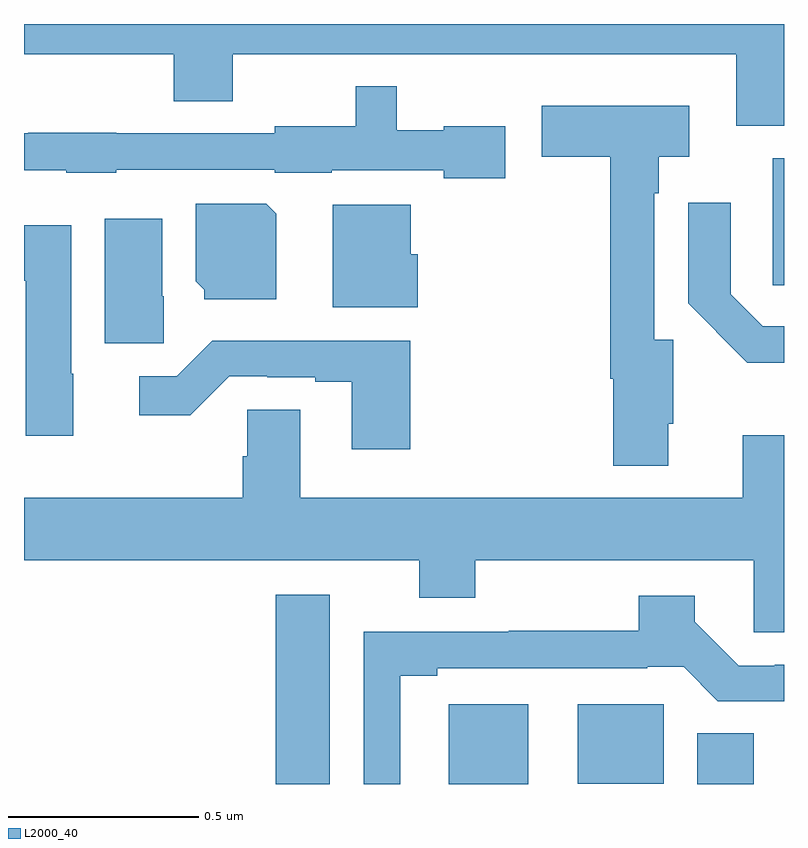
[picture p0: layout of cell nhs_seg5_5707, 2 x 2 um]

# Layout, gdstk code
import gdstk
lib = gdstk.Library(unit=1e-6, precision=1e-09)
def R(c, l, rs):  # rectangles x0, y0, x1, y1
    for r in rs: c.add(gdstk.rectangle(r[:2], r[2:], *l))
def P(c, l, *ps):  # polygons
    for p in ps: c.add(gdstk.Polygon(p, *l))
L2000_40 = (2000, 40)

nhs_seg5_5707 = lib.new_cell('nhs_seg5_5707')
R(nhs_seg5_5707, L2000_40, [(186.662,894.799,186.805,895.297), (187.118,894.799,187.327,895.009), (187.772,894.799,187.921,894.932), (187.457,894.8,187.684,895.009), (187.97,896.112,188,896.446)])
P(nhs_seg5_5707, L2000_40, [(188,896.799),(186,896.799),(186,896.72),(186.394,896.72),(186.394,896.596),(186.549,896.596),(186.549,896.72),(187.874,896.72),(187.874,896.531),(188,896.531)],
  [(187.267,896.53),(187.104,896.53),(187.104,896.519),(186.981,896.519),(186.981,896.635),(186.873,896.635),(186.873,896.53),(186.66,896.53),(186.66,896.511),(186.243,896.511),(186.243,896.513),(186.011,896.513),(186.011,896.511),(186,896.511),(186,896.414),(186.111,896.414),(186.111,896.408),(186.243,896.408),(186.243,896.415),(186.66,896.415),(186.66,896.408),(186.81,896.408),(186.81,896.414),(187.104,896.414),(187.104,896.393),(187.267,896.393)],
  [(187.696,895.747),(187.709,895.747),(187.709,895.968),(187.659,895.968),(187.659,896.354),(187.671,896.354),(187.671,896.45),(187.75,896.45),(187.75,896.584),(187.362,896.584),(187.362,896.45),(187.543,896.45),(187.543,895.865),(187.55,895.865),(187.55,895.637),(187.696,895.637)],
  [(188,896.004),(187.944,896.004),(187.86,896.088),(187.86,896.329),(187.748,896.329),(187.748,896.064),(187.822,895.99),(187.822,895.989),(187.903,895.907),(188,895.907)],
  [(186.664,896.3),(186.638,896.326),(186.452,896.326),(186.452,896.122),(186.474,896.1),(186.474,896.075),(186.664,896.075)],
  [(187.036,896.193),(187.018,896.193),(187.018,896.324),(186.812,896.324),(186.812,896.054),(187.036,896.054)],
  [(186.368,896.082),(186.364,896.082),(186.364,896.287),(186.212,896.287),(186.212,895.959),(186.368,895.959)],
  [(186.13,895.878),(186.124,895.878),(186.124,896.269),(186,896.269),(186,896.124),(186.005,896.124),(186.005,895.716),(186.13,895.716)],
  [(187.016,895.966),(186.496,895.966),(186.402,895.872),(186.303,895.872),(186.303,895.77),(186.438,895.77),(186.54,895.872),(186.64,895.872),(186.64,895.869),(186.767,895.869),(186.767,895.857),(186.863,895.857),(186.863,895.68),(187.016,895.68)],
  [(188,895.717),(187.892,895.717),(187.892,895.552),(186.727,895.552),(186.727,895.784),(186.588,895.784),(186.588,895.662),(186.575,895.662),(186.575,895.552),(186,895.552),(186,895.388),(187.04,895.388),(187.04,895.289),(187.188,895.289),(187.188,895.388),(187.92,895.388),(187.92,895.198),(188,895.198)],
  [(186.99,895.084),(187.087,895.084),(187.087,895.104),(187.64,895.104),(187.64,895.107),(187.736,895.107),(187.826,895.017),(188,895.017),(188,895.113),(187.975,895.113),(187.975,895.11),(187.881,895.11),(187.765,895.226),(187.765,895.294),(187.618,895.294),(187.618,895.202),(187.276,895.202),(187.276,895.2),(186.894,895.2),(186.894,894.799),(186.99,894.799)])

lib.write_gds('nhs_seg5_5707.gds')
